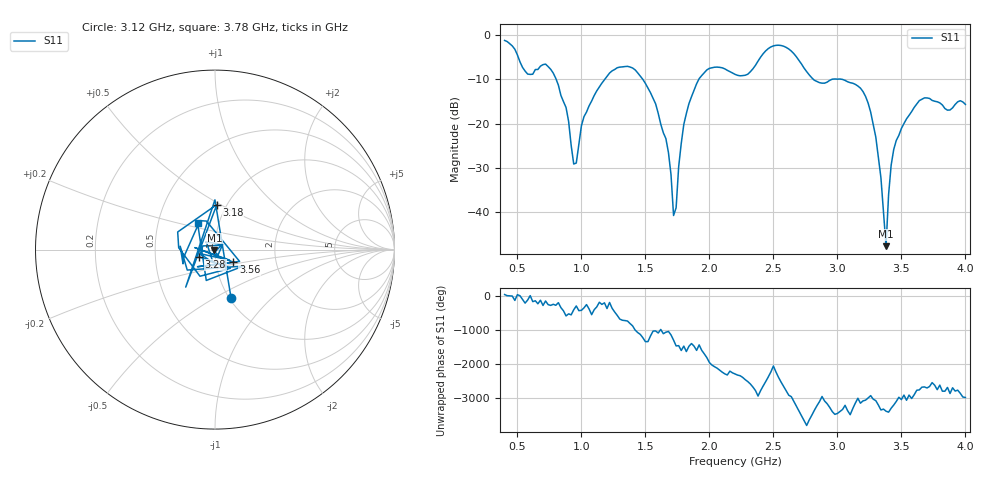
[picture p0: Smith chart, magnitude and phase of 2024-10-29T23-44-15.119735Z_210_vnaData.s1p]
!Created with skrf (http://scikit-rf.org).
# Hz S RI R 50.0
!freq ReS11 ImS11
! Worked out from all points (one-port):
!   181 points, 400 MHz to 4 GHz, reference 50 ohm
!   lowest |S11| = -47.7 dB at 3.38 GHz (marker M1), VSWR 1.01, Z = 49.7 - j0.226 ohm
!   |S11| at or under -10 dB: 802.5 MHz to 1.183 GHz (380.7 MHz wide, 38.3 % of centre); 1.479 GHz to 1.918 GHz (438.1 MHz wide, 25.8 % of centre); 3.033 GHz to end of sweep (the widest 3 of 4)
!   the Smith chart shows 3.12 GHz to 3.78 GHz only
!   S11 on the Smith chart (normalised r, x): 3.12 GHz: 1.02, -0.60; 3.18 GHz: 0.90, +0.48; 3.28 GHz: 0.83, -0.07; 3.56 GHz: 1.21, -0.17; 3.78 GHz: 0.79, +0.24
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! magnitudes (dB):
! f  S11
! 400 MHz  -1.2
! 580 MHz  -8.8
! 740 MHz  -7.1
! 860 MHz  -15.1
! 960 MHz  -28.9
! 1.02 GHz  -18.4
! 1.3 GHz  -7.3
! 1.58 GHz  -15.6
! 1.68 GHz  -26.5
! 1.72 GHz  -40.8
! 1.74 GHz  -39.0
! 1.76 GHz  -29.7
! 1.8 GHz  -20.2
! 1.92 GHz  -9.9
! 2.2 GHz  -8.9
! 2.66 GHz  -4.2
! 2.82 GHz  -10.2
! 3.1 GHz  -10.8
! 3.12 GHz  -10.9
! 3.18 GHz  -12.0
! 3.28 GHz  -20.2
! 3.34 GHz  -32.2
! 3.38 GHz  -47.7
! 3.4 GHz  -36.0
! 3.44 GHz  -25.9
! 3.56 GHz  -18.1
! 3.78 GHz  -15.1
! 4 GHz  -15.7
